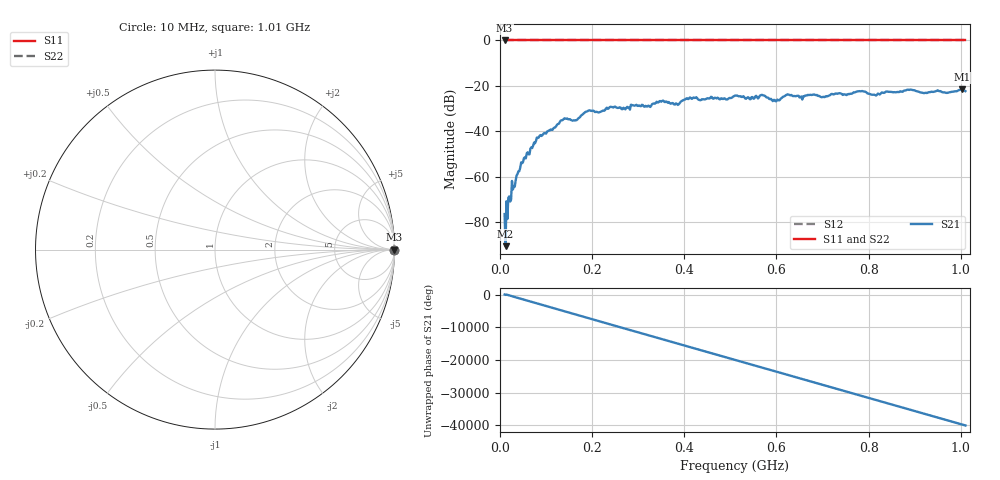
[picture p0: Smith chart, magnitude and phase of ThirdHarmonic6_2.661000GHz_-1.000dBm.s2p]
! 8/17/2025 6:08:11 AM
! C:\ANRITSUVNA\TEMP\TEMP.S2P
! CHANNEL.1
! TR.MEASUREMENT
! RAW.DATA
! RF.CORRECTION.OFF
! AVERAGING.OFF
! IF.BANDWIDTH: 5KHZ
! SWEEPTYPE:  FREQ.SWEEP(Linear)
! Reference Plane Port Info
! PORT:  PORT1  PORT2
! DISTANCE:  0  m  0  m
! TIME:  0  s  0  s
! PHASE.OFFSET:  0  deg.  0  deg.
! LOSS:  0  dB  0  dB
! REF.LOSS:  0  dB  0  dB
! REF.FREQ:  0  Hz  0  Hz
! Power Info
! POWER:  -20  dBm  -20  dBm
! EFF.POWER:  -20  dBm  -20  dBm
! SOURCE.ATTEN:  0  dB  0  dB
! TEST.ATTEN:  0  dB  0  dB
# GHZ S RI R 50.0
! FREQ.GHZ  S11RE  S11IM  S21RE  S21IM  S12RE  S12IM  S22RE  S22IM
!; PortSelection: Port_12
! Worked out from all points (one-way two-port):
!   501 points, 10 MHz to 1.01 GHz, reference 50 ohm
!   highest |S21| = -21.58 dB at 1.002 GHz (marker M1); lowest = -90.6 dB at 12 MHz (marker M2)
!   lowest |S11| = 0.0 dB at 10 MHz (marker M3)
!   |S11| at or under -10 dB: nowhere
!   |S22| runs from 0.0 to 0.0 dB; largest |S21 - S12| = 1.1
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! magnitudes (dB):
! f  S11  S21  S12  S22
! 10 MHz  0.0  -76.5  0.0  0.0
! 12 MHz  0.0  -90.6  0.0  0.0
! 20 MHz  0.0  -68.7  0.0  0.0
! 22 MHz  0.0  -70.9  0.0  0.0
! 48 MHz  0.0  -54.1  0.0  0.0
! 84 MHz  0.0  -42.8  0.0  0.0
! 136 MHz  0.0  -35.1  0.0  0.0
! 162 MHz  0.0  -35.3  0.0  0.0
! 178 MHz  0.0  -32.8  0.0  0.0
! 192 MHz  0.0  -30.9  0.0  0.0
! 322 MHz  0.0  -28.7  0.0  0.0
! 344 MHz  0.0  -27.3  0.0  0.0
! 384 MHz  0.0  -28.0  0.0  0.0
! 410 MHz  0.0  -25.7  0.0  0.0
! 510 MHz  0.0  -24.3  0.0  0.0
! 570 MHz  0.0  -24.1  0.0  0.0
! 596 MHz  0.0  -26.2  0.0  0.0
! 624 MHz  0.0  -23.8  0.0  0.0
! 678 MHz  0.0  -23.9  0.0  0.0
! 844 MHz  0.0  -22.6  0.0  0.0
! 1.002 GHz  0.0  -21.6  0.0  0.0
! 1.01 GHz  0.0  -22.3  0.0  0.0
